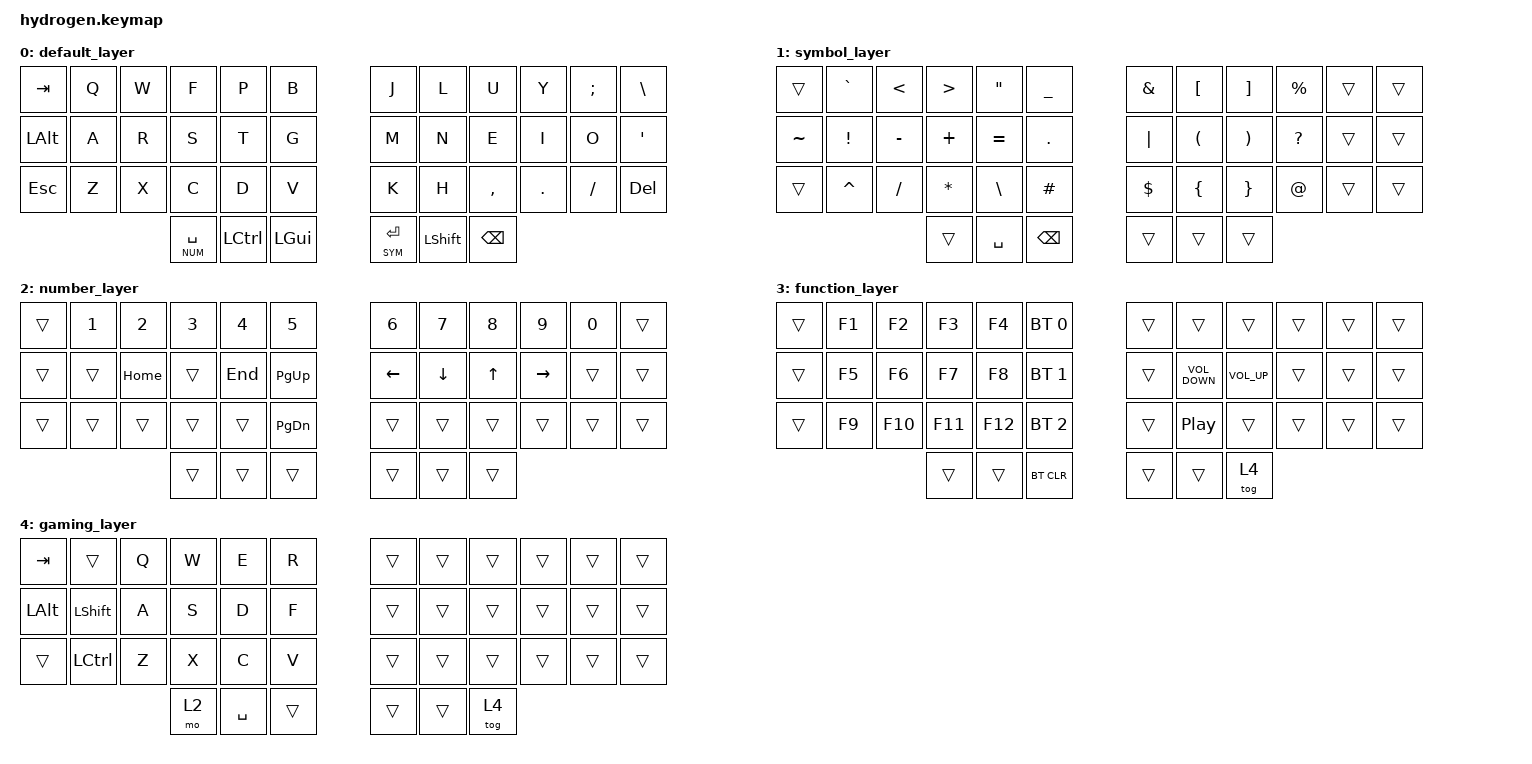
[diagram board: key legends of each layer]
#include <behaviors.dtsi>
#include <dt-bindings/zmk/bt.h>
#include <dt-bindings/zmk/keys.h>

#define SYM 1
#define NUM 2
#define FN  3

/ {
    conditional_layers {
        compatible = "zmk,conditional-layers";

        tri_layer {
            if-layers = <1 2>;
            then-layer = <3>;
        };
    };

    keymap {
        compatible = "zmk,keymap";

        default_layer {
            bindings = <
&kp TAB   &kp Q  &kp W  &kp F          &kp P      &kp B       &kp J        &kp L       &kp U      &kp Y    &kp SEMI  &kp BSLH
&kp LALT  &kp A  &kp R  &kp S          &kp T      &kp G       &kp M        &kp N       &kp E      &kp I    &kp O     &kp SQT
&kp ESC   &kp Z  &kp X  &kp C          &kp D      &kp V       &kp K        &kp H       &kp COMMA  &kp DOT  &kp FSLH  &kp DEL
                        &lt NUM SPACE  &kp LCTRL  &kp LGUI    &lt SYM RET  &kp LSHIFT  &kp BSPC
            >;
        };

        symbol_layer {
            bindings = <
&trans     &kp GRAVE  &kp LT     &kp GT    &kp DQT        &kp UNDER    &kp AMPS  &kp LBKT  &kp RBKT  &kp PRCNT  &trans  &trans
&kp TILDE  &kp EXCL   &kp MINUS  &kp PLUS  &kp EQUAL      &kp DOT      &kp PIPE  &kp LPAR  &kp RPAR  &kp QMARK  &trans  &trans
&trans     &kp CARET  &kp FSLH   &kp STAR  &kp BACKSLASH  &kp HASH     &kp DLLR  &kp LBRC  &kp RBRC  &kp AT     &trans  &trans
                                 &trans    &kp SPACE      &kp BSPC     &trans    &trans    &trans
            >;
        };

        number_layer {
            bindings = <
&trans  &kp N1  &kp N2    &kp N3  &kp N4   &kp N5           &kp N6    &kp N7    &kp N8  &kp N9     &kp N0  &trans
&trans  &trans  &kp HOME  &trans  &kp END  &kp PAGE_UP      &kp LEFT  &kp DOWN  &kp UP  &kp RIGHT  &trans  &trans
&trans  &trans  &trans    &trans  &trans   &kp PAGE_DOWN    &trans    &trans    &trans  &trans     &trans  &trans
                          &trans  &trans   &trans           &trans    &trans    &trans
            >;
        };

        function_layer {
            bindings = <
&trans  &kp F1  &kp F2   &kp F3   &kp F4   &bt BT_SEL 0    &trans  &trans             &trans           &trans  &trans  &trans
&trans  &kp F5  &kp F6   &kp F7   &kp F8   &bt BT_SEL 1    &trans  &kp C_VOLUME_DOWN  &kp C_VOLUME_UP  &trans  &trans  &trans
&trans  &kp F9  &kp F10  &kp F11  &kp F12  &bt BT_SEL 2    &trans  &kp C_PLAY_PAUSE   &trans           &trans  &trans  &trans
                         &trans   &trans   &bt BT_CLR      &trans  &trans             &tog 4
            >;
        };

        gaming_layer {
            bindings = <
&kp TAB   &trans     &kp Q  &kp W  &kp E      &kp R     &trans  &trans  &trans  &trans  &trans  &trans
&kp LALT  &kp LSHFT  &kp A  &kp S  &kp D      &kp F     &trans  &trans  &trans  &trans  &trans  &trans
&trans    &kp LCTRL  &kp Z  &kp X  &kp C      &kp V     &trans  &trans  &trans  &trans  &trans  &trans
                            &mo 2  &kp SPACE  &trans    &trans  &trans  &tog 4
            >;
        };
    };
};
